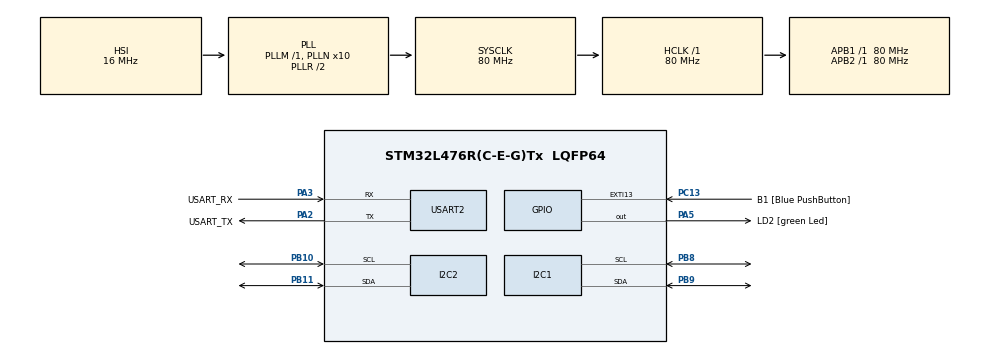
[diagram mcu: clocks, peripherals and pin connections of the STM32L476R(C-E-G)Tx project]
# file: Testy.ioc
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Dma.Request0=USART2_RX
Dma.USART2_RX.0.Direction=DMA_PERIPH_TO_MEMORY
Dma.USART2_RX.0.Instance=DMA1_Channel6
Dma.USART2_RX.0.MemDataAlignment=DMA_MDATAALIGN_BYTE
Dma.USART2_RX.0.MemInc=DMA_MINC_ENABLE
Dma.USART2_RX.0.Mode=DMA_CIRCULAR
Dma.USART2_RX.0.PeriphDataAlignment=DMA_PDATAALIGN_BYTE
Dma.USART2_RX.0.PeriphInc=DMA_PINC_DISABLE
Dma.USART2_RX.0.Priority=DMA_PRIORITY_LOW
I2C1.Timing=0x10909CEC
I2C2.Timing=0x10909CEC
Mcu.Family=STM32L4
Mcu.Name=STM32L476R(C-E-G)Tx
Mcu.Package=LQFP64
NVIC.DMA1_Channel6_IRQn=true\:0\:0\:false\:false\:true\:false\:true\:true
NVIC.PriorityGroup=NVIC_PRIORITYGROUP_4
NVIC.USART2_IRQn=true\:0\:0\:false\:false\:true\:true\:true\:true
PA13\ (JTMS-SWDIO).GPIO_Label=TMS
PA13\ (JTMS-SWDIO).Mode=Serial_Wire
PA13\ (JTMS-SWDIO).Signal=SYS_JTMS-SWDIO
PA14\ (JTCK-SWCLK).GPIO_Label=TCK
PA14\ (JTCK-SWCLK).Mode=Serial_Wire
PA14\ (JTCK-SWCLK).Signal=SYS_JTCK-SWCLK
PA2.GPIO_Label=USART_TX
PA2.GPIO_Mode=GPIO_MODE_AF_PP
PA2.GPIO_PuPd=GPIO_NOPULL
PA2.GPIO_Speed=GPIO_SPEED_FREQ_VERY_HIGH
PA2.Mode=Asynchronous
PA2.Signal=USART2_TX
PA3.GPIO_Label=USART_RX
PA3.GPIO_Mode=GPIO_MODE_AF_PP
PA3.GPIO_PuPd=GPIO_NOPULL
PA3.GPIO_Speed=GPIO_SPEED_FREQ_VERY_HIGH
PA3.Mode=Asynchronous
PA3.Signal=USART2_RX
PA5.GPIO_Label=LD2 [green Led]
PA5.GPIO_ModeDefaultOutputPP=GPIO_MODE_OUTPUT_PP
PA5.GPIO_PuPd=GPIO_NOPULL
PA5.GPIO_Speed=GPIO_SPEED_FREQ_LOW
PA5.Signal=GPIO_Output
PB10.Mode=I2C
PB10.Signal=I2C2_SCL
PB11.Mode=I2C
PB11.Signal=I2C2_SDA
PB3\ (JTDO-TRACESWO).GPIO_Label=SWO
PB3\ (JTDO-TRACESWO).Signal=SYS_JTDO-SWO
PB8.Mode=I2C
PB8.Signal=I2C1_SCL
PB9.Mode=I2C
PB9.Signal=I2C1_SDA
PC13.GPIO_Label=B1 [Blue PushButton]
PC13.GPIO_ModeDefaultEXTI=GPIO_MODE_IT_FALLING
PC13.GPIO_PuPd=GPIO_NOPULL
PC13.Signal=GPXTI13
PC14-OSC32_IN\ (PC14).Mode=LSE-External-Oscillator
PC14-OSC32_IN\ (PC14).Signal=RCC_OSC32_IN
PC15-OSC32_OUT\ (PC15).Mode=LSE-External-Oscillator
PC15-OSC32_OUT\ (PC15).Signal=RCC_OSC32_OUT
PH0-OSC_IN\ (PH0).Signal=RCC_OSC_IN
PH1-OSC_OUT\ (PH1).Signal=RCC_OSC_OUT
ProjectManager.HeapSize=0x200
ProjectManager.StackSize=0x400
ProjectManager.TargetToolchain=STM32CubeIDE
RCC.ADCFreq_Value=64000000
RCC.AHBFreq_Value=80000000
RCC.APB1Freq_Value=80000000
RCC.APB1TimFreq_Value=80000000
RCC.APB2Freq_Value=80000000
RCC.APB2TimFreq_Value=80000000
RCC.CortexFreq_Value=80000000
RCC.HCLKFreq_Value=80000000
RCC.HSE_VALUE=8000000
RCC.HSI_VALUE=16000000
RCC.MSI_VALUE=4000000
RCC.PLLN=10
RCC.PLLSourceVirtual=RCC_PLLSOURCE_HSI
RCC.PREFETCH_ENABLE=1
RCC.SYSCLKFreq_VALUE=80000000
RCC.SYSCLKSource=RCC_SYSCLKSOURCE_PLLCLK
RCC.USBFreq_Value=64000000
RCC.VCOOutputFreq_Value=160000000
USART2.VirtualMode-Asynchronous=VM_ASYNC
board=NUCLEO-L476RG

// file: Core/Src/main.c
/* USER CODE BEGIN Header */
/**
  ******************************************************************************
  * @file           : main.c
  * @brief          : Main program body
  ******************************************************************************
  * @attention
  *
  * Copyright (c) 2023 STMicroelectronics.
  * All rights reserved.
  *
  * This software is licensed under terms that can be found in the LICENSE file
  * in the root directory of this software component.
  * If no LICENSE file comes with this software, it is provided AS-IS.
  *
  ******************************************************************************
  */
/* USER CODE END Header */
#include "main.h"
#include "dma.h"
#include "i2c.h"
#include "usart.h"
#include "gpio.h"

/* USER CODE BEGIN Includes */
#include "stdio.h"
#include "MLX90640_API.h"
#include "MLX90640_I2C_Driver.h"
#include "vl53l5cx_api.h"
#include "AMG8833.h"
#include "stm32l4xx_hal.h"
/* USER CODE END Includes */

/* USER CODE BEGIN PD */
#define RESIZE_X 128
#define RESIZE_Y 128
#define TA_SHIFT 8

#define CRC16 0x1021
#define CRC16_INIT 0
#define CRC16_POLYNOMIAL 0x8005
/* USER CODE END PD */

/* USER CODE BEGIN PV */
float mlx90640To[768];
uint16_t eeMLX90640[832];
paramsMLX90640 mlx90640;
uint16_t mlx90640Frame[834];
int status3=0;

int status, status2;
int startVL1 = 0;
int startVL2 = 0;
uint8_t i, isReady, isReady2;
VL53L5CX_Configuration 	Dev, Dev2;
VL53L5CX_ResultsData 	Results, Results2;
uint8_t resolution, resolution2, isAlive, isAlive2;

float pixels[64];
int16_t pixelsRaw[64];
int16_t pixelsRawResize[RESIZE_X*RESIZE_Y];
uint16_t buf[64];

char flag = 'B';
uint8_t Rx_data;

uint16_t crc_result;

uint16_t test = 12345;
/* USER CODE END PV */

void SystemClock_Config(void);
/* USER CODE BEGIN PFP */
uint16_t calculateCRC16(uint16_t *data, int length);
void get_data_by_polling(VL53L5CX_Configuration *p_dev);
void get_data_by_interrupt(VL53L5CX_Configuration *p_dev);
void get_result_VL53L5CX1();
void get_result_VL53L5CX2();
void get_result_MLX90640();
void get_result_AMG8833();
/* USER CODE END PFP */

/* USER CODE BEGIN 0 */

// Funkcja obliczająca CRC-16
//uint16_t calculateCRC16(uint16_t *data, int length) {
//    /*uint16_t crc = 0xFFFF;
//    for (int i = 0; i < length; i++) {
//        crc ^= data[i] << 8;
//        for (int j = 0; j < 8; j++) {
//            if (crc & 0x8000) {
//                crc = (crc << 1) ^ CRC16;
//            } else {
//                crc = (crc << 1);
//            }
//        }
//    }
//    return crc;*/
//
//    uint16_t out = 0xFFFF;
//    int bits_read = 0, bit_flag;
//
//
//    if(data == NULL)
//        return 0;
//
//    while(length > 0)
//    {
//        bit_flag = out >> 15;
//
//        out <<= 1;
//        out |= (*data >> bits_read) & 1; // item a) work from the least significant bits
//
//        bits_read++;
//        if(bits_read > 7)
//        {
//            bits_read = 0;
//            data++;
//            length--;
//        }
//
//
//        if(bit_flag)
//            out ^= CRC16;
//
//    }
//
//    uint16_t i;
//    for (i = 0; i < 16; ++i) {
//        bit_flag = out >> 15;
//        out <<= 1;
//        if(bit_flag)
//            out ^= CRC16;
//    }
//
//    uint16_t crc = 0;
//    i = 0x8000;
//    int j = 0x0001;
//    for (; i != 0; i >>=1, j <<= 1) {
//        if (i & out) crc |= j;
//    }
//
//    return crc;
//}

unsigned short int ComputeCRC16(const char* pData, int Length, unsigned int Poly, unsigned short int InitVal) {
    unsigned short int ResCRC = InitVal;

    while (--Length >= 0) {
        ResCRC ^= *pData++ << 8;
        for (short int i = 0; i < 8; ++i) {
            ResCRC = ResCRC & 0x8000 ? (ResCRC << 1) ^ Poly : ResCRC << 1;
        }
    }
    return ResCRC & 0xFFFF;
}

int _write(int file, char *ptr, int len){
	HAL_UART_Transmit(&huart2, ptr, len, 100);
	//HAL_UART_Transmit_IT(&huart2, ptr, len);
	return len;
}

/*int _read(int file, char *ptr, int len){
	HAL_UART_Receive(&huart2, ptr, 1, HAL_MAX_DELAY);
	return len;
}*/

void HAL_UART_RxCpltCallback(UART_HandleTypeDef *huart)
{
	switch (Rx_data) {

	case 'A':
		flag = 'A';
		break;
	case 'B':
		flag = 'B';
		break;
	case 'C':
		flag = 'C';
		break;
	case 'D':
		flag = 'D';
		break;
	case 'E':
		flag = 'E';
		break;
	case 'F':
		flag = 'F';
		break;
	case 'G':
		flag = 'G';
		break;
		/*ITS A NEW SECTON*/
	case 'H':
			flag = 'H';
			break;
	case 'I':
			flag = 'I';
			break;
	default:
		printf("Nieobslugiwany przypadek \n");
		break;
	}
	printf("Flaga: %c\n", flag);
	HAL_UART_Transmit_IT(&huart2, &Rx_data, 1);
	HAL_UART_Receive_IT(&huart2, &Rx_data, 1);
}

void get_result_VL53L5CX1(){
	status = vl53l5cx_check_data_ready(&Dev, &isReady);
	if(isReady)
	{
		vl53l5cx_get_resolution(&Dev, &resolution);
		vl53l5cx_get_ranging_data(&Dev, &Results);

		//crc_result = calculateCRC16((uint16_t*)&Results.distance_mm, sizeof(Results.distance_mm));
		crc_result = ComputeCRC16((char*)&Results.distance_mm, sizeof(Results.distance_mm), CRC16_POLYNOMIAL, CRC16_INIT);

		//printf("\r\n==========================DANE Z PIERWSZEGO CZUJNIKA VL53LC5X==========================\r\n");
		//printf("\r\n============================================================================\r\n");
		printf("X %d ",sizeof(Results.distance_mm)+6);
		for(i = 0; i < resolution; i++)
		{
			/*if(i%4 == 0 && i != 0){
				printf("\r\n");
			}*/
		  	printf("%d ", Results.distance_mm[VL53L5CX_NB_TARGET_PER_ZONE*i]);
		}
		printf("%04X Y\r\n", crc_result);
	}
	WaitMs(&(Dev.platform), 5);

}

void get_result_VL53L5CX2(){
	status2 = vl53l5cx_check_data_ready2(&Dev2, &isReady2);
	if(isReady2)
	{
		vl53l5cx_get_resolution2(&Dev2, &resolution2);
		vl53l5cx_get_ranging_data2(&Dev2, &Results2);
 //	crc_result = calculateCRC16((uint16_t*)&Results2.distance_mm, sizeof(Results2.distance_mm));
		crc_result = ComputeCRC16((char*)&Results2.distance_mm, sizeof(Results2.distance_mm), CRC16_POLYNOMIAL, CRC16_INIT);

		//printf("\r\n==========================DANE Z DRUGIEGO CZUJNIKA VL53LC5X==========================\r\n");
		//printf("\r\n============================================================================\r\n");
		printf("Z %d ",sizeof(Results2.distance_mm)+6);
		for(i = 0; i < resolution2; i++)
		{
			/*if(i%4 == 0 && i != 0){
				printf("\r\n");
			}*/
		  	printf("%d ", Results2.distance_mm[VL53L5CX_NB_TARGET_PER_ZONE*i]);
		}
		printf("%04X Y\r\n", crc_result);
	}
	WaitMs(&(Dev2.platform), 5);

}

void get_result_MLX90640(){
	status3 = MLX90640_GetFrameData(mlx90640Frame);

	float Ta = MLX90640_GetTa(mlx90640Frame, &mlx90640);
	float tr = Ta - TA_SHIFT;
	float emissivity = 0.95;
	MLX90640_CalculateTo(mlx90640Frame, &mlx90640, emissivity, tr, mlx90640To);
	//crc_result = calculateCRC16((uint16_t*)&mlx90640To, sizeof(mlx90640To));
	crc_result = ComputeCRC16((char*)&mlx90640To, sizeof(mlx90640To), CRC16_POLYNOMIAL, CRC16_INIT);
	//printf("\r\n==========================DANE Z CZUJNIKA MLX90640==========================\r\n");
	printf("L %d ",sizeof(mlx90640To)+6);
	for(int i = 0; i < 768; i++){
		/*if(i%32 == 0 && i != 0){
			printf("\r\n");
		}*/
		printf("%2.2f ",mlx90640To[i]);
	}
	printf("%04X Y\r\n", crc_result);
}

void get_result_AMG8833(){
	//printf("\r\n============================================================================\r\n");
	//printf("\r\n==========================DANE Z CZUJNIKA AMG8833===========================\r\n");
	readPixels(pixels, 64);
	//crc_result = calculateCRC16((uint16_t*)&pixels, sizeof(pixels));
	crc_result = ComputeCRC16((char*)&pixels, sizeof(pixels), CRC16_POLYNOMIAL, CRC16_INIT);
	printf("P %d ",sizeof(pixels)+6);
	for(int i = 0; i < 64; i++){
		/*if(i%8 == 0 && i != 0){
			printf("\r\n");
		}*/
		printf("%2.2f ",pixels[i]);
	}
	printf("%04X Y\r\n", crc_result);
}

void show_menu(){
	printf("A - Zbieranie danych ze wszystkich czujników\n");
	printf("B - Zbieranie danych z pierwszego czujnika VL53L5CX\n");
	printf("C - Zbieranie danych z drugiego czujnika VL53L5CX\n");
	printf("D - Zbieranie danych z czujnika MLX90640\n");
	printf("E - Zbieranie danych z czujnika AMG8833\n");
	printf("F - Zbieranie danych z czujnika AMG8833 oraz czujnikow odleglosci\n");
	printf("G - Zbieranie danych z czujnika MLX90640 oraz czujnikow odleglosci\n");
}
/* USER CODE END 0 */

int main(void)
{

  /* MCU Configuration--------------------------------------------------------*/

  /* Reset of all peripherals, Initializes the Flash interface and the Systick. */
  HAL_Init();

  /* Configure the system clock */
  SystemClock_Config();

  /* Initialize all configured peripherals */
  MX_GPIO_Init();
  MX_DMA_Init();
  MX_USART2_UART_Init();
  MX_I2C1_Init();
  MX_I2C2_Init();
  /* USER CODE BEGIN 2 */
  printf("%04X \r\n", calculateCRC16(test, sizeof(test)));
  HAL_UART_Receive_IT(&huart2, &Rx_data, 1);
  printf("Inicjalizacja czujnika AMG8833...\n");
  amg88xxInit();
  printf("Koniec inicjalizacji\n");

  printf("Inicjalizacja czujnika MLX90640...\n");
  Init_MLX90640_GPIO(hi2c1);
  MLX90640_SetRefreshRate(MLX90640_RATE_1HZ);
  MLX90640_SetResolution(MLX90640_RES16);
  MLX90640_SetPattern(MLX90640_CHESS);
  MLX90640_SetMode(MLX90640_DEFAULT);
  MLX90640_DumpEE(eeMLX90640);
  status3 = MLX90640_ExtractParameters(eeMLX90640, &mlx90640);
  printf("Koniec inicjalizacji\n");

  HAL_Delay(10);

  Dev.platform.address = VL53L5CX_DEFAULT_I2C_ADDRESS;
  status = vl53l5cx_is_alive(&Dev, &isAlive);
  printf("Inicjalizacja pierwszego czujnika VL53L5CX...\n");
  status = vl53l5cx_init(&Dev);
  status = vl53l5cx_set_resolution(&Dev, VL53L5CX_RESOLUTION_8X8);
  status = vl53l5cx_set_ranging_frequency_hz(&Dev, 1);
  status = vl53l5cx_set_target_order(&Dev, VL53L5CX_TARGET_ORDER_CLOSEST);
  status = vl53l5cx_set_ranging_mode(&Dev, VL53L5CX_RANGING_MODE_CONTINUOUS);
  printf("Koniec inicjalizacji\n");

  Dev2.platform.address = VL53L5CX_DEFAULT_I2C_ADDRESS;
  status2 = vl53l5cx_is_alive2(&Dev2, &isAlive2);
  printf("Inicjalizacja drugiego czujnika VL53L5CX...\n");
  status2 = vl53l5cx_init2(&Dev2);
  status2 = vl53l5cx_set_resolution2(&Dev2, VL53L5CX_RESOLUTION_8X8);
  status2 = vl53l5cx_set_ranging_frequency_hz2(&Dev2, 1);
  status2 = vl53l5cx_set_target_order2(&Dev2, VL53L5CX_TARGET_ORDER_CLOSEST);
  status2 = vl53l5cx_set_ranging_mode2(&Dev2, VL53L5CX_RANGING_MODE_CONTINUOUS);
  printf("Koniec inicjalizacji\n");

  show_menu();
  printf("Wybierz opcje: \n");
  //flag = getchar();
  printf("Wybrana opcja: %c\n", flag);

  /* USER CODE END 2 */

  /* Infinite loop */
  /* USER CODE BEGIN WHILE */
  while (1)
  {
	  switch(flag){
	  case 'A':
		  if (startVL1 == 0 || startVL2 == 0){
			  status = vl53l5cx_start_ranging(&Dev);
			  startVL1 = 1;
			  status2 = vl53l5cx_start_ranging2(&Dev2);
			  startVL2 = 1;
		  }
		  get_result_VL53L5CX1();
		  get_result_VL53L5CX2();
		  get_result_MLX90640();
		  get_result_AMG8833();
		  HAL_Delay(1000);
		  break;
	  case 'B':
		  if (startVL1 == 0){
			  status = vl53l5cx_start_ranging(&Dev);
			  startVL1 = 1;
			  status2 = vl53l5cx_stop_ranging2(&Dev2);
			  startVL2 = 0;
		  }
		  get_result_VL53L5CX1();
		  HAL_Delay(1000);
		  break;
	  case 'C':
		  if (startVL2 == 0){
			  status2 = vl53l5cx_start_ranging2(&Dev2);
			  startVL2 = 1;
			  status = vl53l5cx_stop_ranging(&Dev);
			  startVL1 = 0;
		  }
		  get_result_VL53L5CX2();
		  HAL_Delay(1000);
		  break;
	  case 'D':
		  if (startVL1 == 1 || startVL2 == 1){
			  status = vl53l5cx_stop_ranging(&Dev);
			  startVL1 = 0;
			  status2 = vl53l5cx_stop_ranging2(&Dev2);
			  startVL2 = 0;
		  }
		  get_result_MLX90640();
		  HAL_Delay(1000);
		  break;
	  case 'E':
		  if (startVL1 == 1 || startVL2 == 1){
			  status = vl53l5cx_stop_ranging(&Dev);
			  startVL1 = 0;
			  status2 = vl53l5cx_stop_ranging2(&Dev2);
			  startVL2 = 0;
		  }
		  get_result_AMG8833();
		  HAL_Delay(1000);
		  break;
	  case 'F':
		  if (startVL1 == 0 || startVL2 == 0){
			  status = vl53l5cx_start_ranging(&Dev);
			  startVL1 = 1;
			  status2 = vl53l5cx_start_ranging2(&Dev2);
			  startVL2 = 1;
		  }
		  get_result_VL53L5CX1();
		  get_result_VL53L5CX2();
		  get_result_AMG8833();
		  HAL_Delay(1000);
		  break;
	  case 'G':
		  if (startVL1 == 0 || startVL2 == 0){
			  status = vl53l5cx_start_ranging(&Dev);
			  startVL1 = 1;
			  status2 = vl53l5cx_start_ranging2(&Dev2);
			  startVL2 = 1;
		  }
		  get_result_VL53L5CX1();
		  get_result_VL53L5CX2();
		  get_result_MLX90640();
		  HAL_Delay(1000);
		  break;
		  /*ITS A NEW SECTON*/
	  case 'H':
		  if (startVL1 == 0 || startVL2 == 0){
			  status = vl53l5cx_start_ranging(&Dev);
			  startVL1 = 1;
			  status2 = vl53l5cx_start_ranging2(&Dev2);
			  startVL2 = 1;
		  }
		  get_result_VL53L5CX1();
		  get_result_VL53L5CX2();
		  HAL_Delay(1000);
		  break;
	  case 'I':
		  if (startVL1 == 1 || startVL2 == 1){
			  status = vl53l5cx_stop_ranging(&Dev);
			  startVL1 = 0;
			  status2 = vl53l5cx_stop_ranging2(&Dev2);
			  startVL2 = 0;
		  }
		  get_result_MLX90640();
		  get_result_AMG8833();
		  HAL_Delay(1000);

		  break;

	  default:
		  break;
	  }
    /* USER CODE END WHILE */

  }
}

void SystemClock_Config(void)
{
  RCC_OscInitTypeDef RCC_OscInitStruct = {0};
  RCC_ClkInitTypeDef RCC_ClkInitStruct = {0};

  /** Configure the main internal regulator output voltage
  */
  if (HAL_PWREx_ControlVoltageScaling(PWR_REGULATOR_VOLTAGE_SCALE1) != HAL_OK)
  {
    Error_Handler();
  }

  /** Initializes the RCC Oscillators according to the specified parameters
  * in the RCC_OscInitTypeDef structure.
  */
  RCC_OscInitStruct.OscillatorType = RCC_OSCILLATORTYPE_HSI;
  RCC_OscInitStruct.HSIState = RCC_HSI_ON;
  RCC_OscInitStruct.HSICalibrationValue = RCC_HSICALIBRATION_DEFAULT;
  RCC_OscInitStruct.PLL.PLLState = RCC_PLL_ON;
  RCC_OscInitStruct.PLL.PLLSource = RCC_PLLSOURCE_HSI;
  RCC_OscInitStruct.PLL.PLLM = 1;
  RCC_OscInitStruct.PLL.PLLN = 10;
  RCC_OscInitStruct.PLL.PLLP = RCC_PLLP_DIV7;
  RCC_OscInitStruct.PLL.PLLQ = RCC_PLLQ_DIV2;
  RCC_OscInitStruct.PLL.PLLR = RCC_PLLR_DIV2;
  if (HAL_RCC_OscConfig(&RCC_OscInitStruct) != HAL_OK)
  {
    Error_Handler();
  }

  /** Initializes the CPU, AHB and APB buses clocks
  */
  RCC_ClkInitStruct.ClockType = RCC_CLOCKTYPE_HCLK|RCC_CLOCKTYPE_SYSCLK
                              |RCC_CLOCKTYPE_PCLK1|RCC_CLOCKTYPE_PCLK2;
  RCC_ClkInitStruct.SYSCLKSource = RCC_SYSCLKSOURCE_PLLCLK;
  RCC_ClkInitStruct.AHBCLKDivider = RCC_SYSCLK_DIV1;
  RCC_ClkInitStruct.APB1CLKDivider = RCC_HCLK_DIV1;
  RCC_ClkInitStruct.APB2CLKDivider = RCC_HCLK_DIV1;

  if (HAL_RCC_ClockConfig(&RCC_ClkInitStruct, FLASH_LATENCY_4) != HAL_OK)
  {
    Error_Handler();
  }
}

void Error_Handler(void)
{
  __disable_irq();
  while (1)
  {
  }
}
